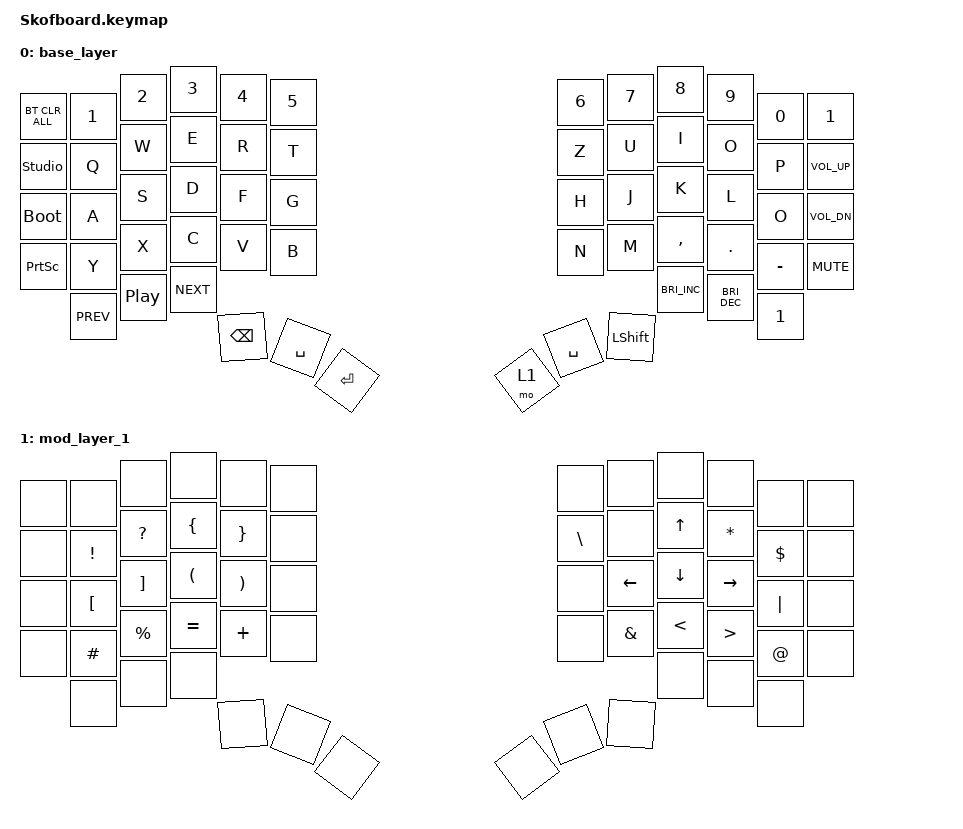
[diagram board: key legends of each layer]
#include <behaviors.dtsi>
#include <dt-bindings/zmk/keys.h>
#include <dt-bindings/zmk/bt.h>

/ {
        keymap {
                compatible = "zmk,keymap";
                
                base_layer {
                        display-name = "base_layer";
// ---------------------------------------------------------------------------------
// | clear  |  1  |  2  |  3   |  4    |  5      |        |  6    |  7      |  8     |  9      |  0     |       |
// | unlock |  Q  |  W  |  E   |  R    |  T      |        |  Z    |  U      |  I     |  O      |  P     | VOLUP |
// | loader |  A  |  S  |  D   |  F    |  G      |        |  H    |  J      |  K     |  L      |  AA    | VOLDO |
// | PSCRN  |  Y  |  X  |  C   |  V    |  B      |        |  N    |  M      |  ,     |  .      |  -     | MUTE  |
// | prev   | PP  | next| BSCP | SPACE | ENTER   |        | LAYER | SPACE   | LSHIFT | Br up   | Br do  |       |
                        bindings = <
   &bt BT_CLR_ALL       &kp N1           &kp N2       &kp N3     &kp N4            &kp N5           &kp N6  &kp N7     &kp N8      &kp N9          &kp N0                &kp N1
   &studio_unlock       &kp Q            &kp W        &kp E      &kp R             &kp T            &kp Z   &kp U      &kp I       &kp O           &kp P                 &kp C_VOL_UP
   &bootloader          &kp A            &kp S        &kp D      &kp F             &kp G            &kp H   &kp J      &kp K       &kp L           &kp O                 &kp C_VOL_DN
   &kp PSCRN            &kp Y            &kp X        &kp C      &kp V             &kp B            &kp N   &kp M      &kp COMMA   &kp DOT         &kp MINUS             &kp C_MUTE
   &kp C_PREV           &kp C_PP         &kp C_NEXT   &kp BSPC   &kp SPACE         &kp ENTER        &mo 1   &kp SPACE  &kp LSHIFT  &kp C_BRI_INC   &kp C_BRI_DEC         &kp N1
                        >;
                };
                mod_layer_1 {
                        display-name = "mod_layer_1";
// ------------------------------------------------------------------------------------------------------------
// |       |       |       |       |       |       |          |       |       |       |       |       | BTCLR |
// |       |   !   |   ?   |   {   |   }   |       |          |   \   |  /    |   UP  |   *   |   $   |       |
// |       |   [   |   ]   |   (   |   )   |       |          |       |  LEFT | DOWN  | RIGHT |  PIPE |       | 
// |       |   #   |   %   |   =   |   +   |       |          |       |   &   |   <   |   >   |   @   |       |
// |       |       |       |       |       |       |          |       |       |       |       |       |       |
                        bindings = <
   &none    &none     &none       &none     &none     &none         &none       &none           &none      &none       &none        &none
   &none    &kp EXCL  &kp QMARK   &kp LBRC  &kp RBRC  &none         &kp BSLH    &none           &kp UP     &kp STAR    &kp DOLLAR   &none
   &none    &kp LBKT  &kp RBKT    &kp LPAR  &kp RPAR  &none         &none       &kp LEFT        &kp DOWN   &kp RIGHT   &kp PIPE     &none
   &none    &kp HASH  &kp PRCNT   &kp EQUAL &kp PLUS  &none         &none       &kp AMPS        &kp LT     &kp GT      &kp AT       &none
   &none    &none     &none       &none     &none     &none         &none       &none           &none      &none       &none        &none
                        >;
                };

                extra_layer_2 {
                        status = "reserved";
                };

                extra_layer_3 {
                        status = "reserved";
                };

                extra_layer_4 {
                        status = "reserved";
                };
        };
};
